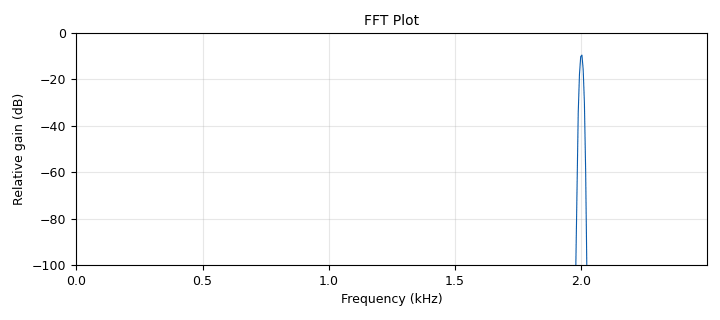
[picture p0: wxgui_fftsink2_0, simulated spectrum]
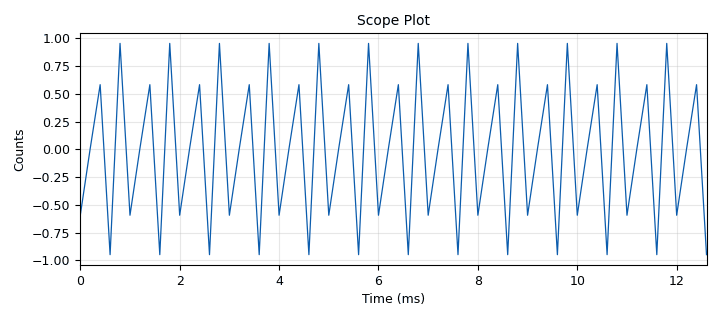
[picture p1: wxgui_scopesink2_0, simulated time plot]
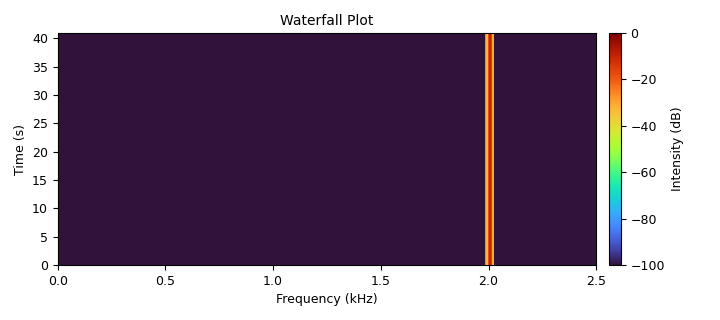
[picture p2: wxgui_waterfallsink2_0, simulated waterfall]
<?xml version='1.0' encoding='utf-8'?>
<?grc format='1' created='3.7.11'?>
<flow_graph>
<block>
<key>options</key>
<param><key>id</key><value>effect_of_samp_rate</value></param>
<param><key>category</key><value>Custom</value></param>
<param><key>generate_options</key><value>wx_gui</value></param>
</block>
<block>
<key>variable</key>
<param><key>id</key><value>freq</value></param>
<param><key>value</key><value>2e3</value></param>
</block>
<block>
<key>variable_slider</key>
<param><key>id</key><value>samp_rate</value></param>
<param><key>converver</key><value>float_converter</value></param>
<param><key>value</key><value>5e3</value></param>
<param><key>label</key><value>sampling rate</value></param>
<param><key>max</key><value>50e3</value></param>
<param><key>min</key><value>4e3</value></param>
<param><key>num_steps</key><value>100</value></param>
<param><key>style</key><value>wx.SL_HORIZONTAL</value></param>
</block>
<block>
<key>analog_sig_source_x</key>
<param><key>id</key><value>analog_sig_source_x_0</value></param>
<param><key>amp</key><value>1</value></param>
<param><key>freq</key><value>freq</value></param>
<param><key>offset</key><value>0</value></param>
<param><key>type</key><value>float</value></param>
<param><key>samp_rate</key><value>samp_rate</value></param>
<param><key>waveform</key><value>analog.GR_SIN_WAVE</value></param>
</block>
<block>
<key>blocks_throttle</key>
<param><key>id</key><value>blocks_throttle_0</value></param>
<param><key>samples_per_second</key><value>32e3</value></param>
<param><key>type</key><value>float</value></param>
</block>
<block>
<key>wxgui_fftsink2</key>
<param><key>id</key><value>wxgui_fftsink2_0</value></param>
<param><key>avg_alpha</key><value>0</value></param>
<param><key>average</key><value>False</value></param>
<param><key>baseband_freq</key><value>0</value></param>
<param><key>fft_size</key><value>1024</value></param>
<param><key>freqvar</key><value>None</value></param>
<param><key>peak_hold</key><value>False</value></param>
<param><key>ref_level</key><value>0</value></param>
<param><key>ref_scale</key><value>2.0</value></param>
<param><key>fft_rate</key><value>15</value></param>
<param><key>samp_rate</key><value>samp_rate</value></param>
<param><key>title</key><value>FFT Plot</value></param>
<param><key>type</key><value>float</value></param>
<param><key>win</key><value>None</value></param>
<param><key>y_divs</key><value>10</value></param>
<param><key>y_per_div</key><value>10</value></param>
</block>
<block>
<key>wxgui_scopesink2</key>
<param><key>id</key><value>wxgui_scopesink2_0</value></param>
<param><key>ac_couple</key><value>False</value></param>
<param><key>num_inputs</key><value>1</value></param>
<param><key>samp_rate</key><value>samp_rate</value></param>
<param><key>t_scale</key><value>0</value></param>
<param><key>title</key><value>Scope Plot</value></param>
<param><key>trig_mode</key><value>wxgui.TRIG_MODE_AUTO</value></param>
<param><key>type</key><value>float</value></param>
<param><key>v_offset</key><value>0</value></param>
<param><key>v_scale</key><value>0</value></param>
<param><key>xy_mode</key><value>False</value></param>
<param><key>y_axis_label</key><value>Counts</value></param>
</block>
<block>
<key>wxgui_waterfallsink2</key>
<param><key>id</key><value>wxgui_waterfallsink2_0</value></param>
<param><key>avg_alpha</key><value>0</value></param>
<param><key>average</key><value>False</value></param>
<param><key>baseband_freq</key><value>0</value></param>
<param><key>dynamic_range</key><value>100</value></param>
<param><key>fft_rate</key><value>15</value></param>
<param><key>fft_size</key><value>1024</value></param>
<param><key>freqvar</key><value>None</value></param>
<param><key>ref_scale</key><value>2.0</value></param>
<param><key>ref_level</key><value>0</value></param>
<param><key>samp_rate</key><value>samp_rate</value></param>
<param><key>title</key><value>Waterfall Plot</value></param>
<param><key>type</key><value>float</value></param>
<param><key>win</key><value>None</value></param>
</block>
<connection><source_block_id>analog_sig_source_x_0</source_block_id><sink_block_id>blocks_throttle_0</sink_block_id><source_key>0</source_key><sink_key>0</sink_key></connection>
<connection><source_block_id>blocks_throttle_0</source_block_id><sink_block_id>wxgui_fftsink2_0</sink_block_id><source_key>0</source_key><sink_key>0</sink_key></connection>
<connection><source_block_id>blocks_throttle_0</source_block_id><sink_block_id>wxgui_scopesink2_0</sink_block_id><source_key>0</source_key><sink_key>0</sink_key></connection>
<connection><source_block_id>blocks_throttle_0</source_block_id><sink_block_id>wxgui_waterfallsink2_0</sink_block_id><source_key>0</source_key><sink_key>0</sink_key></connection>
</flow_graph>
